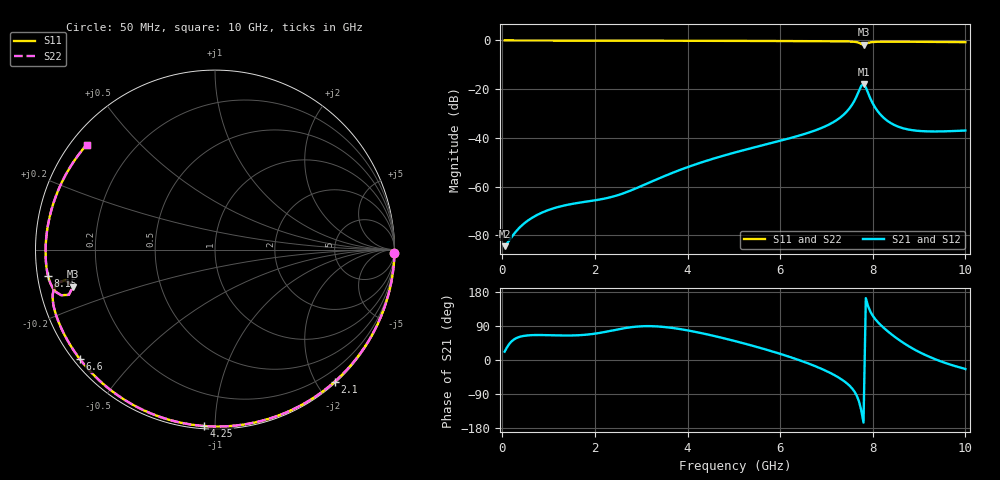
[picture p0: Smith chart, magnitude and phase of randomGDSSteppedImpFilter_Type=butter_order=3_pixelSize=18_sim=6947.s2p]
! freq	dB(S11)	phase(S11)	dB(S12)	phase(S12)
!  dB(S21)	phase(S21)	dB(S22)	phase(S22)
!S-par simulation data
#  GHz  S  DB  R 50
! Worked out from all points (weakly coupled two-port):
!   200 points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, 50 MHz to 10 GHz, reference 50 ohm
!   highest |S21| = -17.84 dB at 7.8 GHz (marker M1); lowest = -84.4 dB at 50 MHz (marker M2)
!   lowest |S11| = -1.8 dB at 7.8 GHz (marker M3), VSWR 9.95, Z = 5.11 - j6.33 ohm
!   |S11| at or under -10 dB: nowhere
!   |S22| runs from -1.8 to 0.0 dB; largest |S21 - S12| = 0
!   S11 on the Smith chart (normalised r, x): 50 MHz: 0, -98; 2.1 GHz: 0.02, -2.25; 4.25 GHz: 0.01, -0.94; 6.6 GHz: 0.02, -0.35; 8.15 GHz: 0.03, -0.08; 10 GHz: 0.04, +0.36
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0.05  -0.00 -1.2  -84.44 22.0  -84.44 22.0  -0.00 -1.2
0.25  -0.00 -5.8  -79.47 54.1  -79.47 54.1  -0.00 -5.8
0.55  -0.01 -12.8  -73.96 64.9  -73.96 64.9  -0.01 -12.8
0.9  -0.03 -20.9  -70.32 65.8  -70.32 65.8  -0.03 -20.9
1.75  -0.05 -40.1  -66.34 66.1  -66.34 66.1  -0.05 -40.1
2.1  -0.06 -47.9  -65.31 71.4  -65.31 71.4  -0.06 -47.9
2.6  -0.08 -58.8  -62.84 83.2  -62.84 83.2  -0.08 -58.8
3.4  -0.10 -75.9  -56.49 88.2  -56.49 88.2  -0.10 -75.9
4.25  -0.13 -93.5  -50.37 72.2  -50.37 72.2  -0.13 -93.5
5.05  -0.17 -109.7  -45.85 49.1  -45.85 49.1  -0.17 -109.7
6.6  -0.28 -141.1  -37.94 -8.7  -37.94 -8.7  -0.28 -141.1
6.7  -0.28 -143.2  -37.31 -13.5  -37.31 -13.5  -0.28 -143.2
7.1  -0.33 -151.8  -34.07 -35.3  -34.07 -35.3  -0.33 -151.8
7.4  -0.39 -158.8  -29.95 -57.6  -29.95 -57.6  -0.39 -158.8
7.65  -0.69 -166.3  -22.99 -93.1  -22.99 -93.1  -0.69 -166.4
7.75  -1.42 -168.5  -18.65 -132.1  -18.65 -132.1  -1.42 -168.6
7.8  -1.75 -165.4  -17.84 -165.3  -17.84 -165.3  -1.76 -165.5
7.9  -0.98 -163.5  -21.65 141.6  -21.65 141.6  -0.98 -163.5
8.15  -0.52 -171.2  -30.08 94.8  -30.08 94.8  -0.52 -171.2
8.35  -0.50 -176.3  -33.45 73.0  -33.45 73.0  -0.50 -176.4
8.9  -0.54 170.1  -36.95 27.6  -36.95 27.6  -0.54 170.0
10  -0.69 140.8  -36.96 -23.7  -36.96 -23.7  -0.69 140.8
